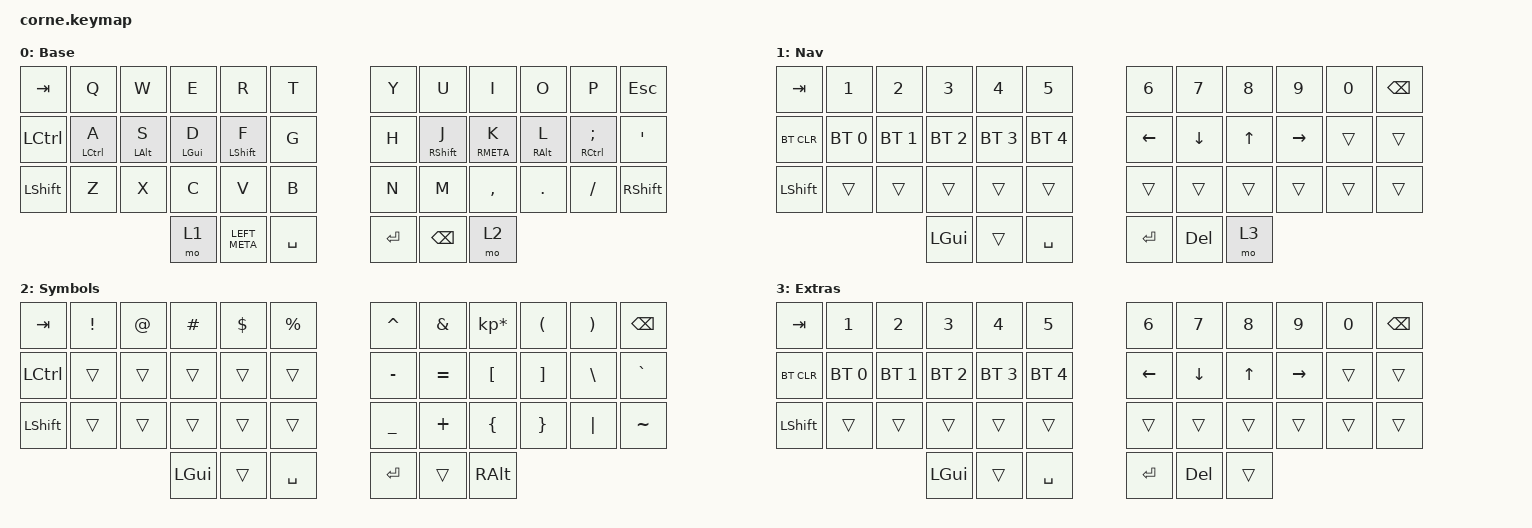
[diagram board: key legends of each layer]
/*
 * Copyright (c) 2020 The ZMK Contributors
 *
 * SPDX-License-Identifier: MIT
 */

#include <behaviors.dtsi>
#include <dt-bindings/zmk/bt.h>
#include <dt-bindings/zmk/keys.h>

/ {
    behaviors {
        HMR: HMR {
            compatible = "zmk,behavior-hold-tap";
            label = "HMR";
            bindings = <&kp>, <&kp>;

            #binding-cells = <2>;
            tapping-term-ms = <280>;
            flavor = "tap-preferred";
            quick-tap-ms = <175>;
            hold-trigger-on-release;
            hold-trigger-key-positions = <0 1 2 3 4 5 12 13 14 16 17 24 25 26 27 28 29 36 37 38 39 40 15 41>;
        };

        HML: HML {
            compatible = "zmk,behavior-hold-tap";
            label = "HML";
            bindings = <&kp>, <&kp>;

            #binding-cells = <2>;
            tapping-term-ms = <280>;
            quick-tap-ms = <175>;
            flavor = "tap-preferred";
            hold-trigger-on-release;
            hold-trigger-key-positions = <36 37 38 6 7 8 9 10 11 18 19 20 21 22 23 30 31 32 33 34 35 40 41 39>;
        };
    };

    keymap {
        compatible = "zmk,keymap";

        default_layer {
            // -----------------------------------------------------------------------------------------
            // |  TAB |  Q  |  W  |  E  |  R  |  T  |   |  Y  |  U   |  I  |  O  |  P  | BKSP |
            // | CTRL |  A  |  S  |  D  |  F  |  G  |   |  H  |  J   |  K  |  L  |  ;  |  '   |
            // | SHFT |  Z  |  X  |  C  |  V  |  B  |   |  N  |  M   |  ,  |  .  |  /  | ESC  |
            //                    | GUI | LWR | SPC |   | ENT | RSE  | ALT |

            display-name = "Base";
            bindings = <
&kp TAB    &kp Q                &kp W            &kp E            &kp R          &kp T      &kp Y    &kp U          &kp I         &kp O             &kp P                    &kp ESC
&kp LCTRL  &HML LEFT_CONTROL A  &HML LEFT_ALT S  &HML LEFT_GUI D  &HML LSHFT F   &kp G      &kp H    &HMR RSHFT J   &HMR RMETA K  &HMR RIGHT_ALT L  &HMR RIGHT_CONTROL SEMI  &kp SQT
&kp LSHFT  &kp Z                &kp X            &kp C            &kp V          &kp B      &kp N    &kp M          &kp COMMA     &kp DOT           &kp FSLH                 &kp RIGHT_SHIFT
                                                 &mo 1            &kp LEFT_META  &kp SPACE  &kp RET  &kp BACKSPACE  &mo 2
            >;
        };

        navigation {
            // -----------------------------------------------------------------------------------------
            // |  TAB |  1  |  2  |  3  |  4  |  5  |   |  6  |  7  |  8  |  9  |  0  | BKSP |
            // | BTCLR| BT1 | BT2 | BT3 | BT4 | BT5 |   | LFT | DWN |  UP | RGT |     |      |
            // | SHFT |     |     |     |     |     |   |     |     |     |     |     |      |
            //                    | GUI |     | SPC |   | ENT |     | ALT |

            display-name = "Nav";
            bindings = <
&kp TAB     &kp N1        &kp N2        &kp N3        &kp N4        &kp N5        &kp N6    &kp N7      &kp N8  &kp N9     &kp N0  &kp BSPC
&bt BT_CLR  &bt BT_SEL 0  &bt BT_SEL 1  &bt BT_SEL 2  &bt BT_SEL 3  &bt BT_SEL 4  &kp LEFT  &kp DOWN    &kp UP  &kp RIGHT  &trans  &trans
&kp LSHFT   &trans        &trans        &trans        &trans        &trans        &trans    &trans      &trans  &trans     &trans  &trans
                                        &kp LGUI      &trans        &kp SPACE     &kp RET   &kp DELETE  &mo 3
            >;
        };

        symbols {
            // -----------------------------------------------------------------------------------------
            // |  TAB |  !  |  @  |  #  |  $  |  %  |   |  ^  |  &  |  *  |  (  |  )  | BKSP |
            // | CTRL |     |     |     |     |     |   |  -  |  =  |  [  |  ]  |  \  |  `   |
            // | SHFT |     |     |     |     |     |   |  _  |  +  |  {  |  }  | "|" |  ~   |
            //                    | GUI |     | SPC |   | ENT |     | ALT |

            display-name = "Symbols";
            bindings = <
&kp TAB    &kp EXCL  &kp AT  &kp HASH  &kp DLLR  &kp PRCNT  &kp CARET  &kp AMPS   &kp KP_MULTIPLY  &kp LPAR  &kp RPAR  &kp BSPC
&kp LCTRL  &trans    &trans  &trans    &trans    &trans     &kp MINUS  &kp EQUAL  &kp LBKT         &kp RBKT  &kp BSLH  &kp GRAVE
&kp LSHFT  &trans    &trans  &trans    &trans    &trans     &kp UNDER  &kp PLUS   &kp LBRC         &kp RBRC  &kp PIPE  &kp TILDE
                             &kp LGUI  &trans    &kp SPACE  &kp RET    &trans     &kp RALT
            >;
        };

        extra_1 { 
            display-name = "Extras";
            bindings = <
&kp TAB     &kp N1        &kp N2        &kp N3        &kp N4        &kp N5        &kp N6    &kp N7      &kp N8  &kp N9     &kp N0  &kp BSPC
&bt BT_CLR  &bt BT_SEL 0  &bt BT_SEL 1  &bt BT_SEL 2  &bt BT_SEL 3  &bt BT_SEL 4  &kp LEFT  &kp DOWN    &kp UP  &kp RIGHT  &trans  &trans
&kp LSHFT   &trans        &trans        &trans        &trans        &trans        &trans    &trans      &trans  &trans     &trans  &trans
                                        &kp LGUI      &trans        &kp SPACE     &kp RET   &kp DELETE  &trans
>;
        };

        extra_2 { status = "reserved"; };

        extra_3 { status = "reserved"; };
    };
};
